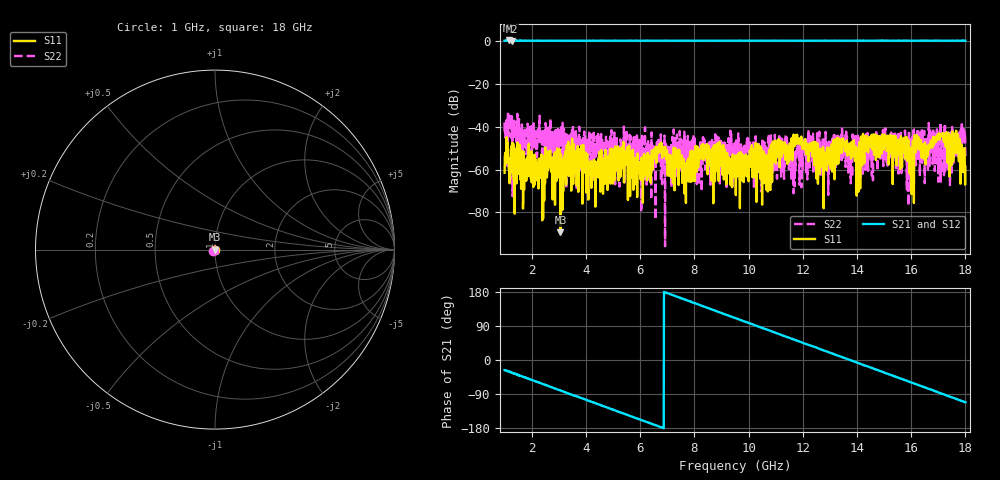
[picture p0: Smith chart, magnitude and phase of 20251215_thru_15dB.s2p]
#  HZ  S  DB  R  50.00
! Rohde & Schwarz ZVA40 4Ports - Version 4.11 - 1145.1110k42 SN: 100337
! Date: 2025-12-16 12:52:45
! Measurements: S11 S41 S14 S44
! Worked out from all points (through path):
!   1701 points, 1 GHz to 18 GHz, reference 50 ohm
!   highest |S21| = 0.14 dB at 1.15 GHz (marker M1); lowest = -0.1 dB at 1.27 GHz (marker M2)
!   group delay of S21, straight-line fit = 72.7 ps
!   lowest |S11| = -89.2 dB at 3.06 GHz (marker M3), VSWR 1.00, Z = 50 - j0.000862 ohm
!   |S11| at or under -10 dB: start of sweep to end of sweep
!   |S22| runs from -95.7 to -34.0 dB; largest |S21 - S12| = 0.021
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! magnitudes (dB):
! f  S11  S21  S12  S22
! 1 GHz  -61.5  0.1  -0.1  -38.0
! 1.15 GHz  -54.7  0.1  0.0  -44.6
! 1.27 GHz  -49.5  -0.1  -0.1  -35.2
! 3.06 GHz  -89.2  0.0  0.0  -44.9
! 3.84 GHz  -48.8  0.0  0.0  -53.4
! 6.05 GHz  -54.4  0.1  0.0  -46.2
! 6.67 GHz  -52.0  0.0  0.0  -46.2
! 7.64 GHz  -60.5  0.1  0.0  -46.9
! 8.32 GHz  -48.1  0.0  0.0  -44.9
! 9.5 GHz  -53.4  0.0  0.0  -60.3
! 10.72 GHz  -62.6  0.0  0.0  -45.6
! 11.72 GHz  -43.9  0.0  0.0  -53.5
! 12.34 GHz  -48.8  0.0  0.0  -52.7
! 13.55 GHz  -47.8  0.0  0.0  -51.2
! 14.05 GHz  -70.4  0.1  0.0  -50.1
! 14.29 GHz  -44.5  0.0  0.0  -53.8
! 15.17 GHz  -57.6  0.1  0.0  -55.6
! 16.02 GHz  -54.0  0.0  0.0  -51.3
! 16.2 GHz  -44.0  0.1  0.0  -51.7
! 16.54 GHz  -56.7  0.0  0.0  -44.8
! 17.1 GHz  -44.1  0.1  0.0  -57.6
! 18 GHz  -58.7  0.0  0.0  -54.3
